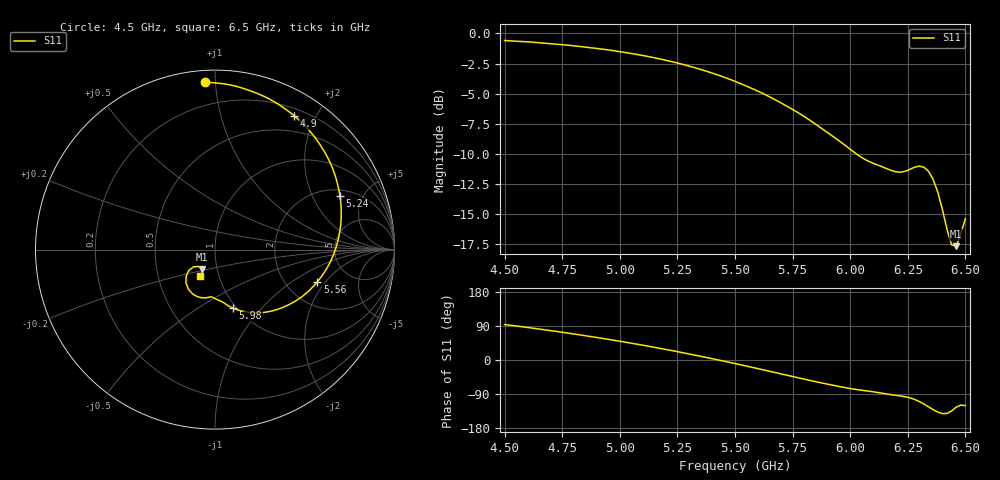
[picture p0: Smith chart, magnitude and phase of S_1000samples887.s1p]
! TOUCHSTONE file generated by CST MICROWAVE STUDIO
! Date and time: Sat Oct 29 17:08:05 2022
! Project name: L.cst
! Parameters = {Di=1.27; Epsilon_r=1.56; InnerDiameter=1.27; Length=2; Lf=10; Lg=60; OuterConductorThickness=0.2921; OuterDiameter=3.6; Wf=3; Wp=41.2; de=1.5; df=6.8; g=0.8; gx=4.40523; gy=3.97131; h=2.34; hf=1.524; px=14.6235; py=12.4136; w=9.7; wx=10.2183; wy=8.44227}
! Header version: 2018
! Port assignment regex: !\s*Touchstone port\s*([0-9]+)\s*=\s*(CST MWS port|CST DS port)\s*([0-9]+|Zmin|Zmax)\s*\(\"(.*)\"\)(\s*mode\s*([0-9]+))?.*
! Touchstone port assignment:
! Touchstone port 1 = CST MWS port 1 ("")
# GHz S DB R 50
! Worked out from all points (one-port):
!   101 points, 4.5 GHz to 6.5 GHz, reference 50 ohm
!   lowest |S11| = -17.7 dB at 6.46 GHz (marker M1), VSWR 1.30, Z = 42.2 - j9.21 ohm
!   |S11| at or under -10 dB: 6.025 GHz to end of sweep
!   S11 on the Smith chart (normalised r, x): 4.5 GHz: 0.06, +0.94; 4.9 GHz: 0.29, +1.72; 5.24 GHz: 2.35, +3.29; 5.56 GHz: 2.97, -1.65; 5.98 GHz: 0.96, -0.71; 6.5 GHz: 0.81, -0.24
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4.5  -0.58 93.6
4.62  -0.72 84.1
4.76  -0.95 72.3
4.9  -1.25 59.4
5  -1.51 49.5
5.12  -1.91 36.8
5.24  -2.41 23.2
5.26  -2.51 20.8
5.38  -3.17 6.1
5.5  -3.99 -9.4
5.56  -4.47 -17.4
5.66  -5.37 -31.2
5.76  -6.44 -44.9
5.86  -7.69 -58.5
5.98  -9.35 -73.1
6  -9.64 -75.2
6.08  -10.65 -82.2
6.18  -11.42 -91.7
6.22  -11.55 -95.0
6.26  -11.31 -100.0
6.3  -11.05 -109.7
6.34  -11.49 -123.5
6.36  -12.16 -130.9
6.38  -13.20 -137.4
6.42  -16.30 -141.2
6.44  -17.61 -134.4
6.46  -17.72 -124.5
6.5  -15.43 -120.5
